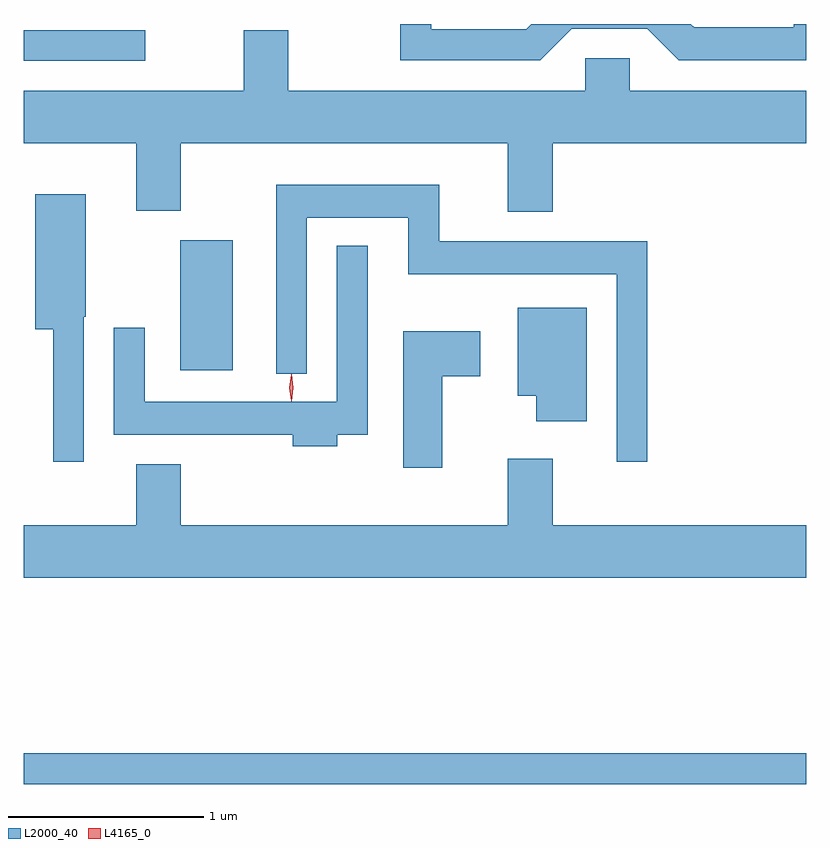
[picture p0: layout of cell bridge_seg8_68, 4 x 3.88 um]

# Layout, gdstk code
import gdstk
lib = gdstk.Library(unit=1e-6, precision=1e-09)
def R(c, l, rs):  # rectangles x0, y0, x1, y1
    for r in rs: c.add(gdstk.rectangle(r[:2], r[2:], *l))
def P(c, l, *ps):  # polygons
    for p in ps: c.add(gdstk.Polygon(p, *l))
L2000_40 = (2000, 40)
L4165_0 = (4165, 0)

bridge_seg8_68 = lib.new_cell('bridge_seg8_68')
R(bridge_seg8_68, L2000_40, [(1569.406,1808.721,1573.406,1808.879), (1570.206,1810.836,1570.474,1811.499), (1569.406,1812.416,1570.028,1812.574)])
P(bridge_seg8_68, L2000_40, [(1572.207,1812.581),(1572.594,1812.581),(1572.754,1812.421),(1573.406,1812.421),(1573.406,1812.605),(1573.341,1812.605),(1573.341,1812.589),(1572.832,1812.589),(1572.816,1812.605),(1572,1812.605),(1571.974,1812.579),(1571.489,1812.579),(1571.489,1812.605),(1571.331,1812.605),(1571.331,1812.421),(1572.047,1812.421)],
  [(1572.109,1811.996),(1573.406,1811.996),(1573.406,1812.264),(1572.504,1812.264),(1572.504,1812.429),(1572.276,1812.429),(1572.276,1812.264),(1570.759,1812.264),(1570.759,1812.574),(1570.531,1812.574),(1570.531,1812.264),(1569.406,1812.264),(1569.406,1811.996),(1569.981,1811.996),(1569.981,1811.651),(1570.209,1811.651),(1570.209,1811.996),(1571.881,1811.996),(1571.881,1811.646),(1572.109,1811.646)],
  [(1572.594,1811.494),(1571.529,1811.494),(1571.529,1811.784),(1570.696,1811.784),(1570.696,1810.818),(1570.854,1810.818),(1570.854,1811.616),(1571.371,1811.616),(1571.371,1811.326),(1572.436,1811.326),(1572.436,1810.368),(1572.594,1810.368)],
  [(1569.714,1811.11),(1569.724,1811.11),(1569.724,1811.734),(1569.466,1811.734),(1569.466,1811.046),(1569.556,1811.046),(1569.556,1810.368),(1569.714,1810.368)],
  [(1571.009,1810.506),(1571.164,1810.506),(1571.164,1811.473),(1571.006,1811.473),(1571.006,1810.674),(1570.024,1810.674),(1570.024,1811.053),(1569.866,1811.053),(1569.866,1810.506),(1570.781,1810.506),(1570.781,1810.446),(1571.009,1810.446)],
  [(1572.284,1811.154),(1571.931,1811.154),(1571.931,1810.706),(1572.026,1810.706),(1572.026,1810.576),(1572.284,1810.576)],
  [(1571.544,1810.806),(1571.739,1810.806),(1571.739,1811.034),(1571.346,1811.034),(1571.346,1810.336),(1571.544,1810.336)],
  [(1569.981,1810.354),(1569.981,1810.044),(1569.406,1810.044),(1569.406,1809.776),(1573.406,1809.776),(1573.406,1810.044),(1572.109,1810.044),(1572.109,1810.384),(1571.881,1810.384),(1571.881,1810.044),(1570.209,1810.044),(1570.209,1810.354)])
P(bridge_seg8_68, L4165_0, [(1570.774,1810.679),(1570.773,1810.68),(1570.764,1810.746),(1570.773,1810.812),(1570.774,1810.813),(1570.774,1810.812),(1570.784,1810.746),(1570.774,1810.68)],
  [(1570.774,1810.677),(1570.765,1810.746),(1570.774,1810.816),(1570.775,1810.816),(1570.775,1810.816),(1570.785,1810.746),(1570.775,1810.677),(1570.775,1810.677)])

lib.write_gds('bridge_seg8_68.gds')
